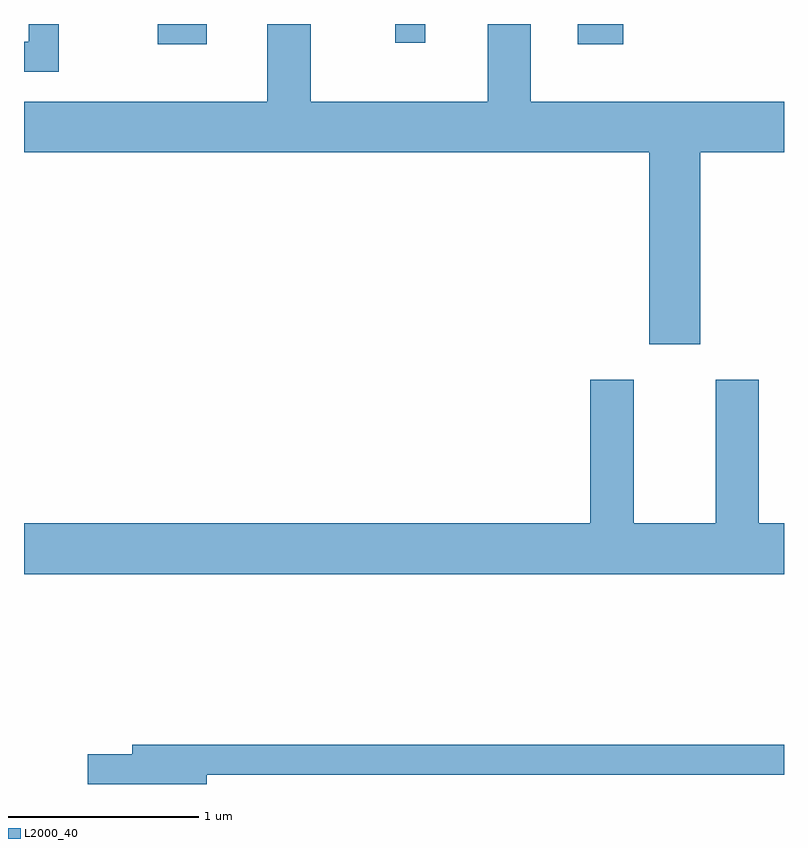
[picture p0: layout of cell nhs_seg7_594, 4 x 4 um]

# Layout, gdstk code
import gdstk
lib = gdstk.Library(unit=1e-6, precision=1e-09)
def R(c, l, rs):  # rectangles x0, y0, x1, y1
    for r in rs: c.add(gdstk.rectangle(r[:2], r[2:], *l))
def P(c, l, *ps):  # polygons
    for p in ps: c.add(gdstk.Polygon(p, *l))
L2000_40 = (2000, 40)

nhs_seg7_594 = lib.new_cell('nhs_seg7_594')
R(nhs_seg7_594, L2000_40, [(202.316,1788.146,202.574,1788.252), (204.526,1788.146,204.764,1788.252), (203.566,1788.153,203.724,1788.252)])
P(nhs_seg7_594, L2000_40, [(201.794,1788.252),(201.636,1788.252),(201.636,1788.159),(201.611,1788.159),(201.611,1788.001),(201.794,1788.001)],
  [(205.169,1787.576),(205.611,1787.576),(205.611,1787.844),(204.279,1787.844),(204.279,1788.252),(204.051,1788.252),(204.051,1787.844),(203.119,1787.844),(203.119,1788.252),(202.891,1788.252),(202.891,1787.844),(201.611,1787.844),(201.611,1787.576),(204.901,1787.576),(204.901,1786.566),(205.169,1786.566)],
  [(205.611,1785.624),(205.479,1785.624),(205.479,1786.379),(205.251,1786.379),(205.251,1785.624),(204.819,1785.624),(204.819,1786.379),(204.591,1786.379),(204.591,1785.624),(201.611,1785.624),(201.611,1785.356),(205.611,1785.356)],
  [(202.574,1784.301),(205.611,1784.301),(205.611,1784.459),(202.181,1784.459),(202.181,1784.409),(201.946,1784.409),(201.946,1784.252),(202.574,1784.252)])

lib.write_gds('nhs_seg7_594.gds')
